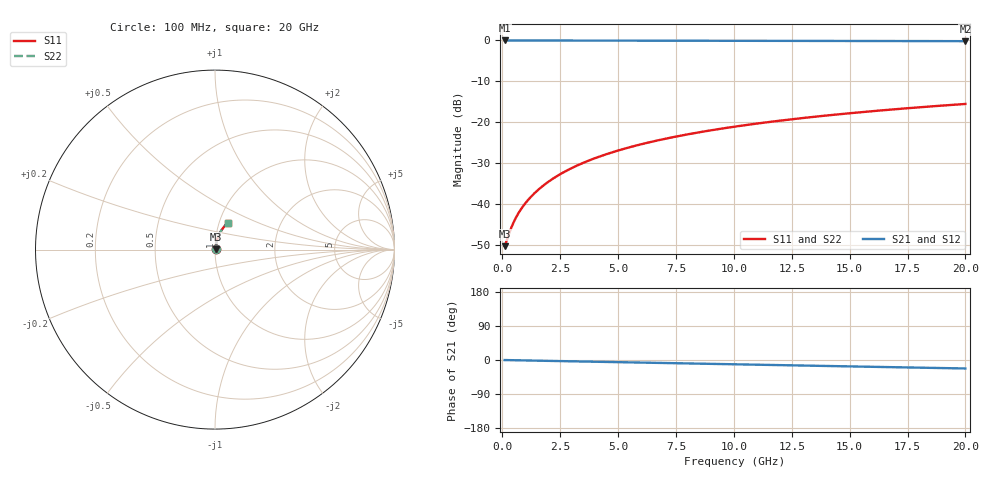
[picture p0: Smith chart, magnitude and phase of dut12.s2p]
! Touchstone file exported from HFSS 2026.1.0
!  File:  C:/ffzhzh/LocalFiles/Ansys_Project_Files/temp_val_BSMRDL_12_1782903216_42304.aedt
!  Generated:  06:54:47 PM Jul  1, 2026
!  Design:  BSMRDL
!  Project:  temp_val_BSMRDL_12_1782903216_42304
! Variables:
!  h_bsmrdl = 2.51um
!  h_ox = 20um
!  h_rdl = 5um
!  h_sub = 80um
!  h_tmrdl = 5um
!  h_tsv = 80um
!  h_via = 3um
!  l_bsmrdl = 341.17um
!  l_sub = 741.17um
!  l_tmrdl = 200um
!  m_sub = 200um
!  pitch = 30.72um
!  r_tsv = 6um
!  s_tmrdl = 10um
!  w_bsmrdl = 18.94um
!  w_sub = 500um
!  w_tmrdl = 12um
!  x_tsv_center1 = 206um
!  x_tsv_center2 = 566.11um
!  x_tsv_center3 = 778.11um
!  x_tsv_center4 = 1138.22um
!  x_tsv_center5 = 1350.22um
!  x_tsv_center6 = 1710.33um
# GHz S MA R 50.000000
! Terminal data exported
! Port[1] = BSM_RDL1_1_T1
! Port[2] = BSM_RDL1_1_T2
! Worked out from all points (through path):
!   200 points, 100 MHz to 20 GHz, reference 50 ohm
!   highest |S21| = -0.02 dB at 100 MHz (marker M1); lowest = -0.2 dB at 20 GHz (marker M2)
!   group delay of S21, straight-line fit = 3.1 ps
!   lowest |S11| = -50.4 dB at 100 MHz (marker M3), VSWR 1.01, Z = 50.3 + j0.108 ohm
!   |S11| at or under -10 dB: start of sweep to end of sweep
!   |S22| runs from -50.4 to -15.6 dB; largest |S21 - S12| = 2.6e-15
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0.1  0.00302 20.8  0.9972 -0.1  0.9972 -0.1  0.00302 20.8
! Gamma 0 0 0 0
! Port Impedance 50 0 50 0
0.4  0.005171 52.3  0.9969 -0.5  0.9969 -0.5  0.005171 52.3
0.5  0.006007 56.7  0.9967 -0.6  0.9967 -0.6  0.006007 56.6
0.6  0.006844 59.9  0.9966 -0.7  0.9966 -0.7  0.006843 59.9
0.7  0.007677 62.4  0.9965 -0.8  0.9965 -0.8  0.007676 62.4
0.9  0.009337 66.2  0.9964 -1.1  0.9964 -1.1  0.009335 66.2
1.2  0.01184 70.1  0.9962 -1.4  0.9962 -1.4  0.01184 70.1
1.4  0.01352 71.9  0.9961 -1.6  0.9961 -1.6  0.01352 71.9
1.7  0.01607 73.9  0.996 -2.0  0.996 -2.0  0.01607 73.9
2.2  0.02037 76.1  0.9958 -2.5  0.9958 -2.5  0.02036 76.1
2.8  0.02557 77.5  0.9956 -3.2  0.9956 -3.2  0.02557 77.5
3.5  0.03168 78.2  0.9953 -4.0  0.9953 -4.0  0.03168 78.2
4.2  0.0378 78.5  0.9949 -4.8  0.9949 -4.8  0.03779 78.5
5  0.04477 78.4  0.9944 -5.7  0.9944 -5.7  0.04477 78.4
5.9  0.05258 78.0  0.9938 -6.8  0.9938 -6.8  0.05258 78.0
6.8  0.06035 77.4  0.9931 -7.8  0.9931 -7.8  0.06035 77.4
8.3  0.07317 76.2  0.9918 -9.5  0.9918 -9.5  0.07316 76.2
10.1  0.08831 74.5  0.9899 -11.5  0.9899 -11.5  0.08831 74.5
11.7  0.1015 72.9  0.9882 -13.3  0.9882 -13.3  0.1015 73.0
13.4  0.1153 71.2  0.9861 -15.2  0.9861 -15.2  0.1153 71.3
16.7  0.1414 67.9  0.9817 -18.8  0.9817 -18.8  0.1414 67.9
20  0.1664 64.5  0.9769 -22.4  0.9769 -22.4  0.1664 64.5
